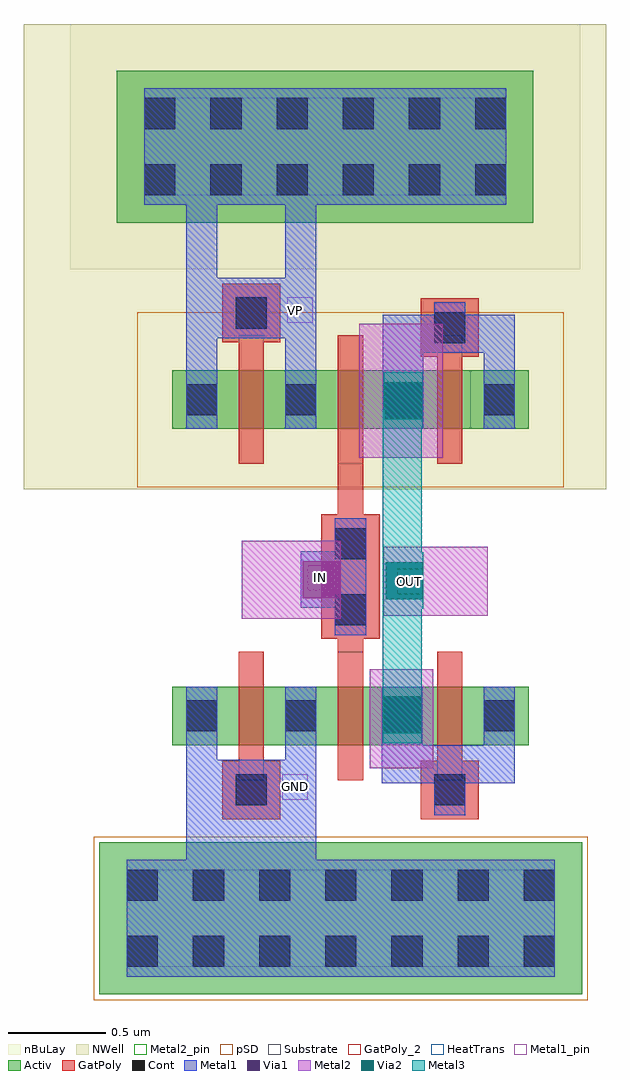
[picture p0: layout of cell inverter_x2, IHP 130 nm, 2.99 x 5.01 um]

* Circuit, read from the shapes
.subckt inverter_x2 GND IN OUT VP
XM1 GND GND GND GND sg13_lv_nmos w=0.3u l=0.13u
XM2 OUT IN GND GND sg13_lv_nmos w=0.3u l=0.13u
XM3 OUT OUT OUT GND sg13_lv_nmos w=0.3u l=0.13u
XM4 VP VP VP VP sg13_lv_pmos w=0.3u l=0.13u
XM5 OUT IN VP VP sg13_lv_pmos w=0.3u l=0.13u
XM6 OUT OUT OUT VP sg13_lv_pmos w=0.3u l=0.13u
.ends

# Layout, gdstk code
from math import pi, radians
import gdstk
lib = gdstk.Library(unit=1e-6, precision=1e-09)
def R(c, l, rs):  # rectangles x0, y0, x1, y1
    for r in rs: c.add(gdstk.rectangle(r[:2], r[2:], *l))
def A(c, l, x, y, w, h, nx, ny, dx, dy):  # array of equal rectangles
    R(c, l, [(x+i*dx, y+j*dy, x+i*dx+w, y+j*dy+h) for i in range(nx) for j in range(ny)])
Activ = (1, 0)
GatPoly = (5, 0)
GatPoly_2 = (5, 2)
Cont = (6, 0)
Metal1 = (8, 0)
Metal1_pin = (8, 2)
Metal2 = (10, 0)
Metal2_pin = (10, 2)
pSD = (14, 0)
Via1 = (19, 0)
Via2 = (29, 0)
Metal3 = (30, 0)
NWell = (31, 0)
nBuLay = (32, 0)
Substrate = (40, 0)
HeatTrans = (51, 0)

nmos_2 = lib.new_cell('nmos$2')
A(nmos_2, Activ, 0, 0, 0.3, 0.3, 4, 1, 0.51, 0)
R(nmos_2, Activ, [(0,0,1.83,0.3)])
A(nmos_2, GatPoly, 0.34, -0.18, 0.13, 0.66, 3, 1, 0.51, 0)
R(nmos_2, GatPoly_2, [(0.34,-0.18,0.47,0.48)])
A(nmos_2, Cont, 0.07, 0.07, 0.16, 0.16, 4, 1, 0.51, 0)
A(nmos_2, Metal1, 0.07, 0, 0.16, 0.3, 4, 1, 0.51, 0)
R(nmos_2, Metal1_pin, [(0.07,0,0.23,0.3), (0.58,0,0.74,0.3)])
A(nmos_2, HeatTrans, 0.34, -0.18, 0.13, 0.66, 3, 1, 0.51, 0)
nmos_2.add(gdstk.Label('nmos', (0.405,0.15), layer=63, texttype=0))
nmos_2.add(gdstk.Label('nmos', (0.405,0.15), layer=51, texttype=0))
nmos_2.add(gdstk.Label('nmos', (0.915,0.15), layer=51, texttype=0))
nmos_2.add(gdstk.Label('nmos', (1.425,0.15), layer=51, texttype=0))

ptap = lib.new_cell('ptap')
R(ptap, Activ, [(-0.425,-1.215,0.355,-0.435)])
R(ptap, Cont, [(-0.285,-1.075,-0.125,-0.915), (0.055,-1.075,0.215,-0.915), (-0.285,-0.735,-0.125,-0.575), (0.055,-0.735,0.215,-0.575)])
R(ptap, Metal1, [(-0.285,-1.125,0.215,-0.525)])
R(ptap, Metal1_pin, [(-0.285,-1.075,0.215,-0.575)])
R(ptap, pSD, [(-0.455,-1.245,0.385,-0.405)])

via_1 = lib.new_cell('Via$1')
R(via_1, Metal1, [(-0.145,-0.105,0.145,0.105)])
R(via_1, Metal2, [(-0.145,-0.1,0.145,0.1)])
R(via_1, Via1, [(-0.095,-0.095,0.095,0.095)])

via = lib.new_cell('Via')
R(via, GatPoly, [(-0.15,-0.32,0.15,0.32)])
R(via, Cont, [(-0.08,-0.25,0.08,-0.09), (-0.08,0.09,0.08,0.25)])
R(via, Metal1, [(-0.08,-0.3,0.08,0.3)])

via_3 = lib.new_cell('Via$3')
R(via_3, Metal2, [(-0.145,-0.1,0.145,0.1)])
R(via_3, Via2, [(-0.095,-0.095,0.095,0.095)])
R(via_3, Metal3, [(-0.145,-0.1,0.145,0.1)])

via_2 = lib.new_cell('Via$2')
R(via_2, GatPoly, [(-0.15,-0.15,0.15,0.15)])
R(via_2, Cont, [(-0.08,-0.08,0.08,0.08)])
R(via_2, Metal1, [(-0.13,-0.08,0.13,0.08)])

pmos_3 = lib.new_cell('pmos$3')
A(pmos_3, Activ, 0, 0, 0.3, 0.3, 4, 1, 0.51, 0)
R(pmos_3, Activ, [(0,0,1.83,0.3)])
A(pmos_3, GatPoly, 0.34, -0.18, 0.13, 0.66, 3, 1, 0.51, 0)
R(pmos_3, GatPoly, [(0.34,-0.18,0.47,0.48)])
A(pmos_3, Cont, 0.07, 0.07, 0.16, 0.16, 4, 1, 0.51, 0)
A(pmos_3, Metal1, 0.58, 0, 0.16, 0.3, 3, 1, 0.51, 0)
R(pmos_3, Metal1, [(0.07,0,0.23,0.3), (0.07,0,0.23,0.3), (0.58,0,0.74,0.3)])
R(pmos_3, pSD, [(-0.18,-0.3,2.01,0.6)])
R(pmos_3, NWell, [(-0.31,-0.31,2.14,0.61)])
R(pmos_3, Substrate, [(1.53,0,1.83,0.3)])
A(pmos_3, HeatTrans, 0.34, -0.18, 0.13, 0.66, 3, 1, 0.51, 0)
pmos_3.add(gdstk.Label('pmos', (0.405,0.15), layer=63, texttype=0))
pmos_3.add(gdstk.Label('pmos', (0.405,0.15), layer=51, texttype=0))
pmos_3.add(gdstk.Label('pmos', (0.915,0.15), layer=51, texttype=0))
pmos_3.add(gdstk.Label('pmos', (1.425,0.15), layer=51, texttype=0))

ntap = lib.new_cell('ntap')
R(ntap, Activ, [(-0.665,-0.22,0.115,0.56)])
R(ntap, Cont, [(-0.525,-0.08,-0.365,0.08), (-0.525,0.26,-0.365,0.42), (-0.185,0.26,-0.025,0.42)])
R(ntap, Metal1, [(-0.525,-0.13,-0.025,0.47)])
R(ntap, Metal1_pin, [(-0.525,-0.08,-0.025,0.42)])
R(ntap, NWell, [(-0.905,-0.46,0.355,0.8)])
R(ntap, nBuLay, [(-0.905,-0.46,0.355,0.8)])

inverter_x2 = lib.new_cell('inverter_x2')
A(inverter_x2, Activ, -1.49, -2.62, 0.78, 0.78, 6, 1, 0.34, 0)
A(inverter_x2, Activ, -1.4, 1.345, 0.78, 0.78, 5, 1, 0.34, 0)
R(inverter_x2, GatPoly, [(-0.265,-0.97,-0.135,-0.935), (-0.265,-0.935,-0.135,-0.735), (-0.265,-0.155,-0.135,0.205)])
A(inverter_x2, Cont, -1.35, -2.48, 0.16, 0.16, 7, 2, 0.34, 0.34)
A(inverter_x2, Cont, -0.58, 1.485, 0.16, 0.16, 4, 1, 0.34, 0)
A(inverter_x2, Cont, -1.26, 1.825, 0.16, 0.16, 6, 1, 0.34, 0)
R(inverter_x2, Cont, [(-1.26,1.485,-1.1,1.645)])
A(inverter_x2, Metal1, -1.35, -2.53, 0.5, 0.6, 6, 1, 0.34, 0)
A(inverter_x2, Metal1, -1.26, 1.435, 0.5, 0.6, 5, 1, 0.34, 0)
R(inverter_x2, Metal1, [(-0.535,-2.035,-0.375,-1.885), (-1.045,-2.015,-0.885,-1.32), (-0.885,-1.96,-0.535,-1.415), (-0.535,-1.885,-0.375,-1.32), (-0.69,-1.7,-0.565,-1.44), (-0.04,-1.535,0.645,-1.495), (-0.04,-1.495,0.17,-1.33), (0.15,-1.495,0.645,-1.34), (-1.045,0.565,-0.885,1.515), (-0.535,0.565,-0.375,1.555), (-0.035,0.575,0.175,0.87), (0.485,0.585,0.645,0.87), (0.145,0.675,0.23,0.87), (0.39,0.675,0.49,0.87), (-0.025,0.745,0.575,0.87), (-0.95,0.75,-0.535,1.06), (-0.02,0.795,0.575,0.87)])
A(inverter_x2, Metal1_pin, -1.35, -2.48, 0.5, 0.5, 6, 1, 0.34, 0)
A(inverter_x2, Metal1_pin, -1.26, 1.485, 0.5, 0.5, 5, 1, 0.34, 0)
R(inverter_x2, Metal1_pin, [(-0.55,-1.62,-0.42,-1.49), (-0.42,-0.545,-0.29,-0.415), (-0.525,0.83,-0.395,0.96)])
R(inverter_x2, Metal2, [(-0.1,-1.46,0.225,-0.95), (-0.055,-1.425,0.18,-0.95), (-0.055,-1.35,0.18,-1.01), (-0.76,-0.69,-0.25,-0.29), (-0.03,-0.675,0.505,-0.32), (-0.59,-0.635,-0.25,-0.345), (-0.495,-0.635,-0.25,-0.345), (-0.155,0.135,0.275,0.825), (-0.105,0.19,0.225,0.72), (-0.085,0.215,0.21,0.68), (-0.06,0.255,0.195,0.62)])
R(inverter_x2, Metal2_pin, [(0.04,-0.565,0.17,-0.435)])
A(inverter_x2, pSD, -1.52, -2.65, 0.84, 0.84, 6, 1, 0.34, 0)
R(inverter_x2, Metal3, [(-0.035,-1.04,0.165,0.38)])
A(inverter_x2, NWell, -1.64, 1.105, 1.26, 1.26, 5, 1, 0.34, 0)
R(inverter_x2, NWell, [(-1.88,-0.025,1.115,2.365), (0.755,0,0.98,2.27), (-1.88,1.015,0.75,2.365), (-1.54,1.015,1.09,2.365)])
A(inverter_x2, nBuLay, -1.64, 1.105, 1.26, 1.26, 5, 1, 0.34, 0)
inverter_x2.add(gdstk.Reference(nmos_2, (-1.115,-1.34)))
inverter_x2.add(gdstk.Reference(ptap, (-0.385,-1.405)))
inverter_x2.add(gdstk.Reference(via_1, (0.065,-1.185), rotation=pi/2))
inverter_x2.add(gdstk.Reference(via_1, (-0.35,-0.49), rotation=pi/2))
inverter_x2.add(gdstk.Reference(via_1, (0.07,0.43), rotation=pi/2))
inverter_x2.add(gdstk.Reference(via, (-0.2,-0.475)))
inverter_x2.add(gdstk.Reference(via_3, (0.065,-1.185), rotation=pi/2))
inverter_x2.add(gdstk.Reference(via_3, (0.075,-0.495), rotation=pi/2))
inverter_x2.add(gdstk.Reference(via_3, (0.07,0.43), rotation=pi/2))
inverter_x2.add(gdstk.Reference(via_2, (-0.71,-1.57), rotation=pi/2))
inverter_x2.add(gdstk.Reference(via_2, (0.31,-1.57), rotation=pi/2))
inverter_x2.add(gdstk.Reference(via_2, (0.31,0.805), rotation=pi/2))
inverter_x2.add(gdstk.Reference(via_2, (-0.71,0.88), rotation=pi/2))
inverter_x2.add(gdstk.Reference(pmos_3, (-1.115,0.285)))
inverter_x2.add(gdstk.Reference(ntap, (-0.395,1.565)))
inverter_x2.add(gdstk.Label('GND', (-0.485,-1.555), layer=8, texttype=25))
inverter_x2.add(gdstk.Label('VP', (-0.485,0.895), layer=8, texttype=25))
inverter_x2.add(gdstk.Label('IN', (-0.355,-0.48), layer=8, texttype=25))
inverter_x2.add(gdstk.Label('OUT', (0.105,-0.5), layer=10, texttype=25))

lib.write_gds('inverter_x2.gds')
